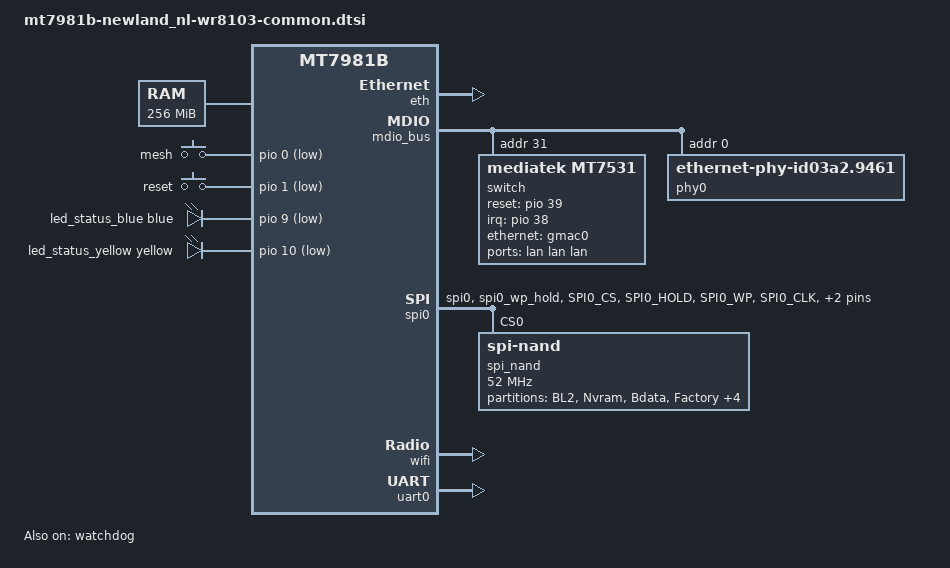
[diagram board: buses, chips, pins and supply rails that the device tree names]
// SPDX-License-Identifier: GPL-2.0-or-later OR MIT
// mt7981b-newland_nl-wr8103-common.dtsi
// Newland NL-WR8103 common device-tree definitions (OpenWrt main, Linux 6.6).
// Reconstructed 2026-11-07 from:
//  - hanwckf/immortalwrt-mt798x (21.02, kernel 5.4) mt7981-newland-nl-wr8103.dts
//    (complete hardware description: LEDs, buttons, ethernet, switch, flash)
//  - hanimeia/openwrt PR #19006 U-Boot patch (LED/button GPIOs, eth, flash layout)
//  - mt7981b-xiaomi-mi-router-common.dtsi (6.6 DSA template from same source tree)
// Notes / risks (unverifiable without the hardware):
//  - LEDs: blue=GPIO9, yellow=GPIO10 (U-Boot patch + Xiaomi template agree;
//    hanwckf 5.4 file says red=10/green=11/blue=12 instead - cosmetic if wrong).
//  - Buttons: mesh=GPIO0, reset=GPIO1 (U-Boot patch + Xiaomi template agree;
//    hanwckf 5.4 file has them swapped - functions may swap if wrong).
//  - WAN: GMAC1 (gmii) to external PHY0 (ethernet-phy-id03a2.9461, reg 0).
//    PHY calibration data omitted (phy_calibration label not defined in 6.6 tree);
//    PHY works without it, possibly with slightly worse signal quality.
//  - Switch: MT7531 internal, ports 0/1/2 = LAN, port 6 = CPU (GMAC0, sgmii 1G).
//    BUILD7 PHY FIX (2026-11-10): build #6 used phy-mode "2500base-x" +
//    fixed-link 2500 on the CPU port (gmac0 and switch port 6). The router
//    booted but the LAN switch never came up (no Ethernet link on any LAN
//    port; link was UP in U-Boot). Changed both ends of the CPU-port link to
//    phy-mode "sgmii" with fixed-link speed 1000, full-duplex.
//    NOTE: hanwckf's 5.4 DTS (the reference for this device) has gmac0 at
//    "2500base-x"/2500 and only the switch port at "sgmii"/2500, so this
//    matched-SGMII-1G setting is NOT a literal copy of hanwckf — it is the
//    coherent 6.6 mt7530 setting (both ends of the link must agree; U-Boot
//    brings the link up over SGMII). If LAN still has no link, the next
//    thing to try is the hanwckf-literal variant (gmac0 2500base-x/2500,
//    switch port sgmii/2500).
//    The 2.5G LAN port is reached through the switch; only one of ports 0-2 is
//    physically wired, the rest are harmless when unconnected.
//  - No an8855 parts: the NL-WR8103 has no Airoha external switch (unlike AX3000T).

/dts-v1/;
#include <dt-bindings/input/input.h>
#include <dt-bindings/gpio/gpio.h>

#include "mt7981b.dtsi"

/ {
	aliases {
		serial0 = &uart0;
		led-boot = &led_status_yellow;
		led-failsafe = &led_status_yellow;
		led-running = &led_status_blue;
		led-upgrade = &led_status_yellow;
	};

	chosen {
		stdout-path = "serial0:115200n8";
	};

	memory {
		reg = <0 0x40000000 0 0x10000000>;
	};

	gpio-keys {
		compatible = "gpio-keys";

		button-mesh {
			label = "mesh";
			gpios = <&pio 0 GPIO_ACTIVE_LOW>;
			linux,code = <BTN_9>;
			linux,input-type = <EV_SW>;
		};

		button-reset {
			label = "reset";
			gpios = <&pio 1 GPIO_ACTIVE_LOW>;
			linux,code = <KEY_RESTART>;
		};
	};

	leds: leds {
		compatible = "gpio-leds";

		led_status_blue: led-status-blue {
			color = <LED_COLOR_ID_BLUE>;
			function = LED_FUNCTION_STATUS;
			gpios = <&pio 9 GPIO_ACTIVE_LOW>;
		};

		led_status_yellow: led-status-yellow {
			color = <LED_COLOR_ID_YELLOW>;
			function = LED_FUNCTION_STATUS;
			gpios = <&pio 10 GPIO_ACTIVE_LOW>;
		};
	};
};

&eth {
	status = "okay";

	gmac0: mac@0 {
		compatible = "mediatek,eth-mac";
		reg = <0>;
		phy-mode = "sgmii";

		fixed-link {
			speed = <1000>;
			full-duplex;
		};
	};

	gmac1: mac@1 {
		compatible = "mediatek,eth-mac";
		reg = <1>;
		phy-mode = "gmii";
		phy-handle = <&phy0>;
	};
};

&mdio_bus {
	switch: switch@1f {
		compatible = "mediatek,mt7531";
		reg = <31>;
		reset-gpios = <&pio 39 GPIO_ACTIVE_HIGH>;
		interrupt-controller;
		#interrupt-cells = <1>;
		interrupt-parent = <&pio>;
		interrupts = <38 IRQ_TYPE_LEVEL_HIGH>;
	};

	phy0: ethernet-phy@0 {
		compatible = "ethernet-phy-id03a2.9461";
		reg = <0>;
	};
};

&switch {
	ports {
		#address-cells = <1>;
		#size-cells = <0>;

		port@0 {
			reg = <0>;
			label = "lan";
		};

		port@1 {
			reg = <1>;
			label = "lan";
		};

		port@2 {
			reg = <2>;
			label = "lan";
		};

		port@6 {
			reg = <6>;
			ethernet = <&gmac0>;
			phy-mode = "sgmii";

			fixed-link {
				speed = <1000>;
				full-duplex;
			};
		};
	};
};

&spi0 {
	pinctrl-names = "default";
	pinctrl-0 = <&spi0_flash_pins>;
	status = "okay";

	spi_nand: flash@0 {
		#address-cells = <1>;
		#size-cells = <1>;
		compatible = "spi-nand";
		reg = <0>;

		spi-cal-enable;
		spi-cal-mode = "read-data";
		spi-cal-datalen = <7>;
		spi-cal-data = /bits/ 8 <0x53 0x50 0x49 0x4e 0x41 0x4e 0x44>;
		spi-cal-addrlen = <5>;
		spi-cal-addr = /bits/ 32 <0x0 0x0 0x0 0x0 0x0>;

		spi-max-frequency = <52000000>;
		spi-tx-bus-width = <4>;
		spi-rx-bus-width = <4>;

		partitions: partitions {
			compatible = "fixed-partitions";
			#address-cells = <1>;
			#size-cells = <1>;

			partition@0 {
				label = "BL2";
				reg = <0x00 0x100000>;
				read-only;
			};

			partition@100000 {
				label = "Nvram";
				reg = <0x100000 0x40000>;
			};

			partition@140000 {
				label = "Bdata";
				reg = <0x140000 0x40000>;
			};

			factory: partition@180000 {
				label = "Factory";
				reg = <0x180000 0x200000>;
				read-only;

				nvmem-layout {
					compatible = "fixed-layout";
					#address-cells = <1>;
					#size-cells = <1>;

					eeprom_factory_0: eeprom@0 {
						reg = <0x0 0x1000>;
					};

					macaddr_factory_4: macaddr@4 {
						compatible = "mac-base";
						reg = <0x4 0x6>;
						#nvmem-cell-cells = <1>;
					};
				};
			};

			partition@380000 {
				label = "FIP";
				reg = <0x380000 0x200000>;
				read-only;
			};

			partition@580000 {
				label = "crash";
				reg = <0x580000 0x40000>;
				read-only;
			};

			partition@5c0000 {
				label = "crash_log";
				reg = <0x5c0000 0x40000>;
				read-only;
			};

			partition@7600000 {
				label = "KF";
				reg = <0x7600000 0x40000>;
				read-only;
			};
		};
	};
};

&pio {
	spi0_flash_pins: spi0-pins {
		mux {
			function = "spi";
			groups = "spi0", "spi0_wp_hold";
		};

		conf-pu {
			pins = "SPI0_CS", "SPI0_HOLD", "SPI0_WP";
			drive-strength = <MTK_DRIVE_8mA>;
			bias-pull-up = <MTK_PUPD_SET_R1R0_11>;
		};

		conf-pd {
			pins = "SPI0_CLK", "SPI0_MOSI", "SPI0_MISO";
			drive-strength = <MTK_DRIVE_8mA>;
			bias-pull-down = <MTK_PUPD_SET_R1R0_11>;
		};
	};
};

&wifi {
	status = "okay";
	nvmem-cells = <&eeprom_factory_0>;
	nvmem-cell-names = "eeprom";
};

&uart0 {
	status = "okay";
};

&watchdog {
	status = "okay";
};
